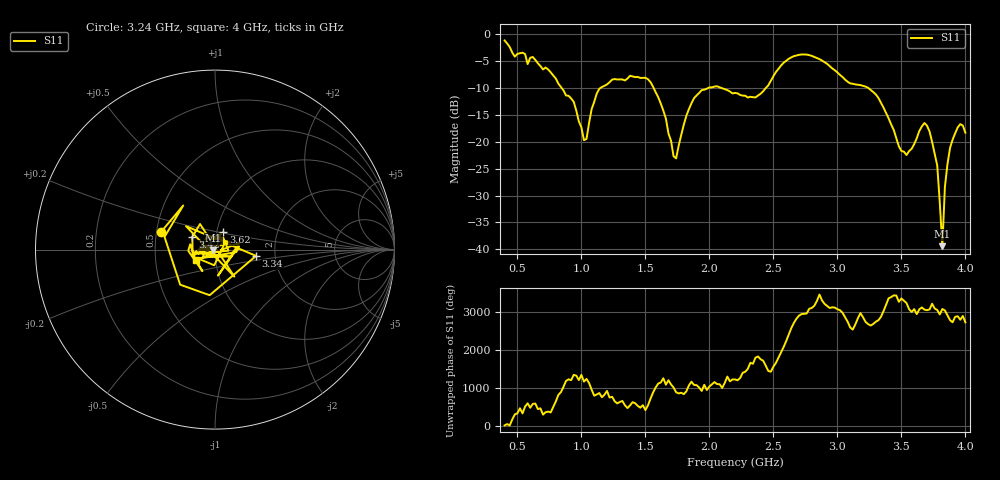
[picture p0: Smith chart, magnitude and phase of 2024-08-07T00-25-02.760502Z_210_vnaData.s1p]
!Created with skrf (http://scikit-rf.org).
# Hz S RI R 50.0
!freq ReS11 ImS11
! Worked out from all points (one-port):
!   181 points, 400 MHz to 4 GHz, reference 50 ohm
!   lowest |S11| = -39.4 dB at 3.82 GHz (marker M1), VSWR 1.02, Z = 49 - j0.349 ohm
!   |S11| at or under -10 dB: 1.564 GHz to 1.991 GHz (426.9 MHz wide, 24 % of centre); 2.093 GHz to 2.441 GHz (348.1 MHz wide, 15.4 % of centre); 3.242 GHz to end of sweep (the widest 3 of 4)
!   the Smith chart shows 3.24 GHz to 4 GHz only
!   S11 on the Smith chart (normalised r, x): 3.24 GHz: 0.53, +0.11; 3.34 GHz: 1.59, -0.12; 3.42 GHz: 0.77, +0.11; 3.62 GHz: 1.08, +0.21; 4 GHz: 0.80, -0.10
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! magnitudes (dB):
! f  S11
! 400 MHz  -1.2
! 860 MHz  -10.5
! 940 MHz  -12.6
! 1.02 GHz  -19.7
! 1.14 GHz  -10.1
! 1.3 GHz  -8.4
! 1.52 GHz  -8.4
! 1.64 GHz  -14.2
! 1.72 GHz  -22.7
! 1.76 GHz  -20.7
! 1.94 GHz  -10.4
! 2.2 GHz  -10.9
! 2.36 GHz  -11.8
! 2.66 GHz  -4.1
! 3.1 GHz  -9.1
! 3.24 GHz  -10.0
! 3.34 GHz  -12.7
! 3.42 GHz  -16.8
! 3.56 GHz  -21.8
! 3.62 GHz  -19.3
! 3.68 GHz  -16.5
! 3.74 GHz  -20.0
! 3.78 GHz  -24.4
! 3.82 GHz  -39.4
! 3.84 GHz  -28.4
! 3.88 GHz  -21.2
! 3.96 GHz  -16.7
! 4 GHz  -18.3
